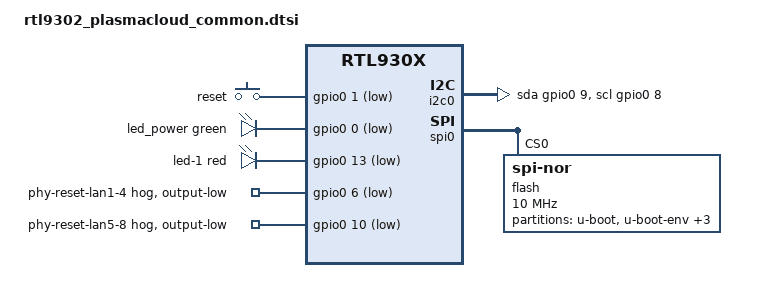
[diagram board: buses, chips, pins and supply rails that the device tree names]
// SPDX-License-Identifier: GPL-2.0-or-later

#include "rtl930x.dtsi"

#include <dt-bindings/input/input.h>
#include <dt-bindings/gpio/gpio.h>
#include <dt-bindings/leds/common.h>

/ {
	chosen {
		/* get active mtdparts from u-boot */
		/delete-property/ bootargs;
	};

	aliases {
		led-boot = &led_power;
		led-running = &led_power;
		led-failsafe = &led_power;
		led-upgrade = &led_power;
		label-mac-device = &ethernet0;
	};

	keys {
		compatible = "gpio-keys";

		mode {
			label = "reset";
			gpios = <&gpio0 1 GPIO_ACTIVE_LOW>;
			linux,code = <KEY_RESTART>;
		};
	};

	i2c0: i2c-gpio0 {
		compatible = "i2c-gpio";
		#address-cells = <1>;
		#size-cells = <0>;

		sda-gpios = <&gpio0 9 GPIO_ACTIVE_HIGH>;
		scl-gpios = <&gpio0 8 GPIO_ACTIVE_HIGH>;

		i2c-gpio,delay-us = <5>;	/* ~100 kHz */
	};

	leds {
		compatible = "gpio-leds";

		pinctrl-names = "default";
		pinctrl-0 = <&pinmux_disable_sys_led>;

		led_power: led-0 {
			color = <LED_COLOR_ID_GREEN>;
			function = LED_FUNCTION_POWER;
			gpios = <&gpio0 0 GPIO_ACTIVE_LOW>;
			default-state = "on";
		};

		led-1 {
			color = <LED_COLOR_ID_RED>;
			function = LED_FUNCTION_STATUS;
			gpios = <&gpio0 13 GPIO_ACTIVE_LOW>;
			default-state = "on";
			linux,default-trigger = "heartbeat";
		};
	};

	led_set: led_set@0 {
		compatible = "realtek,rtl9300-leds";
		active-low;

		led_set0 = <(RTL93XX_LED_SET_10G | RTL93XX_LED_SET_5G |
			     RTL93XX_LED_SET_2P5G | RTL93XX_LED_SET_1G |
			     RTL93XX_LED_SET_100M | RTL93XX_LED_SET_10M |
			     RTL93XX_LED_SET_LINK | RTL93XX_LED_SET_ACT)>;
	};
};

&spi0 {
	status = "okay";

	flash@0 {
		compatible = "jedec,spi-nor";
		reg = <0>;
		spi-max-frequency = <10000000>;

		partitions {
			compatible = "fixed-partitions";
			#address-cells = <1>;
			#size-cells = <1>;

			partition@0 {
				label = "u-boot";
				reg = <0x0 0xe0000>;
				read-only;
			};

			partition@e0000 {
				label = "u-boot-env";
				reg = <0xe0000 0x10000>;

				nvmem-layout {
					compatible = "u-boot,env";

					macaddr_ubootenv_ethaddr: ethaddr {
						#nvmem-cell-cells = <1>;
					};
				};
			};

			partition@f0000 {
				label = "u-boot-env2";
				reg = <0xf0000 0x10000>;
			};

			partition@100000 {
				label = "firmware1";
				reg = <0x100000 0xf80000>;
				compatible = "openwrt,uimage", "denx,uimage";
				openwrt,ih-magic = <0x93000000>;
			};

			partition@1080000 {
				label = "firmware2";
				reg = <0x1080000 0xf80000>;
				compatible = "openwrt,uimage", "denx,uimage";
				openwrt,ih-magic = <0x93000000>;
			};
		};
	};
};

&ethernet0 {
	nvmem-cells = <&macaddr_ubootenv_ethaddr 0>;
	nvmem-cell-names = "mac-address";
};

&mdio_bus0 {
	PHY_C45_PAIR_ORDER(0, 0, 0)
	PHY_C45_PAIR_ORDER(1, 1, 0)
	PHY_C45_PAIR_ORDER(2, 2, 1)
	PHY_C45_PAIR_ORDER(3, 3, 1)
	PHY_C45_PAIR_ORDER(8, 4, 0)
	PHY_C45_PAIR_ORDER(9, 5, 0)
	PHY_C45_PAIR_ORDER(10, 6, 1)
	PHY_C45_PAIR_ORDER(11, 7, 1)
};

&switch0 {
	ethernet-ports {
		#address-cells = <1>;
		#size-cells = <0>;

		SWITCH_PORT_SDS(0, 1, 2, 0, 10g-qxgmii)
		SWITCH_PORT_SDS(1, 2, 2, 1, 10g-qxgmii)
		SWITCH_PORT_SDS(2, 3, 2, 2, 10g-qxgmii)
		SWITCH_PORT_SDS(3, 4, 2, 3, 10g-qxgmii)
		SWITCH_PORT_SDS(8, 5, 3, 0, 10g-qxgmii)
		SWITCH_PORT_SDS(9, 6, 3, 1, 10g-qxgmii)
		SWITCH_PORT_SDS(10, 7, 3, 2, 10g-qxgmii)
		SWITCH_PORT_SDS(11, 8, 3, 3, 10g-qxgmii)

		/* CPU-port */
		port@28 {
			ethernet = <&ethernet0>;
			reg = <28>;
			phy-mode = "internal";
			fixed-link {
				speed = <1000>;
				full-duplex;
			};
		};
	};
};

&port0 {
	nvmem-cells = <&macaddr_ubootenv_ethaddr 1>;
	nvmem-cell-names = "mac-address";
};

&port1 {
	nvmem-cells = <&macaddr_ubootenv_ethaddr 2>;
	nvmem-cell-names = "mac-address";
};

&port2 {
	nvmem-cells = <&macaddr_ubootenv_ethaddr 3>;
	nvmem-cell-names = "mac-address";
};

&port3 {
	nvmem-cells = <&macaddr_ubootenv_ethaddr 4>;
	nvmem-cell-names = "mac-address";
};

&port8 {
	nvmem-cells = <&macaddr_ubootenv_ethaddr 5>;
	nvmem-cell-names = "mac-address";
};

&port9 {
	nvmem-cells = <&macaddr_ubootenv_ethaddr 6>;
	nvmem-cell-names = "mac-address";
};

&port10 {
	nvmem-cells = <&macaddr_ubootenv_ethaddr 7>;
	nvmem-cell-names = "mac-address";
};

&port11 {
	nvmem-cells = <&macaddr_ubootenv_ethaddr 8>;
	nvmem-cell-names = "mac-address";
};

&gpio0 {
	/*
	 * GPIO 6 is the global reset shared by (logical) PHYs 0-3 on MDIO bus0.
	 * It is intentionally not declared as reset-gpios on any bus: the MDIO
	 * driver / phylink only support a single reset GPIO per bus, not two
	 * (or more). And a GPIO can only be used as reset-gpio on a single PHY.
	 * Attaching it to a single PHY would still reset the other PHYs on
	 * the same chip as a side effect, leaving their software state out of
	 * sync with the hardware and likely breaking them.
	 */
	phy_reset1 {
		gpio-hog;
		gpios = <6 GPIO_ACTIVE_LOW>;
		output-low;
		line-name = "phy-reset-lan1-4";
	};

	/*
	 * GPIO 10 is the global reset shared by (logical) PHYs 8-11 on MDIO
	 * bus0. It is intentionally not declared as reset-gpios on any bus:
	 * the MDIO driver / phylink only support a single reset GPIO per bus,
	 * not two (or more). And a GPIO can only be used as reset-gpio on a
	 * single PHY. Attaching it to a single PHY would still reset the other
	 * PHYs on the same chip as a side effect, leaving their software state
	 * out of sync with the hardware and likely breaking them.
	 */
	phy_reset2 {
		gpio-hog;
		gpios = <10 GPIO_ACTIVE_LOW>;
		output-low;
		line-name = "phy-reset-lan5-8";
	};
};
